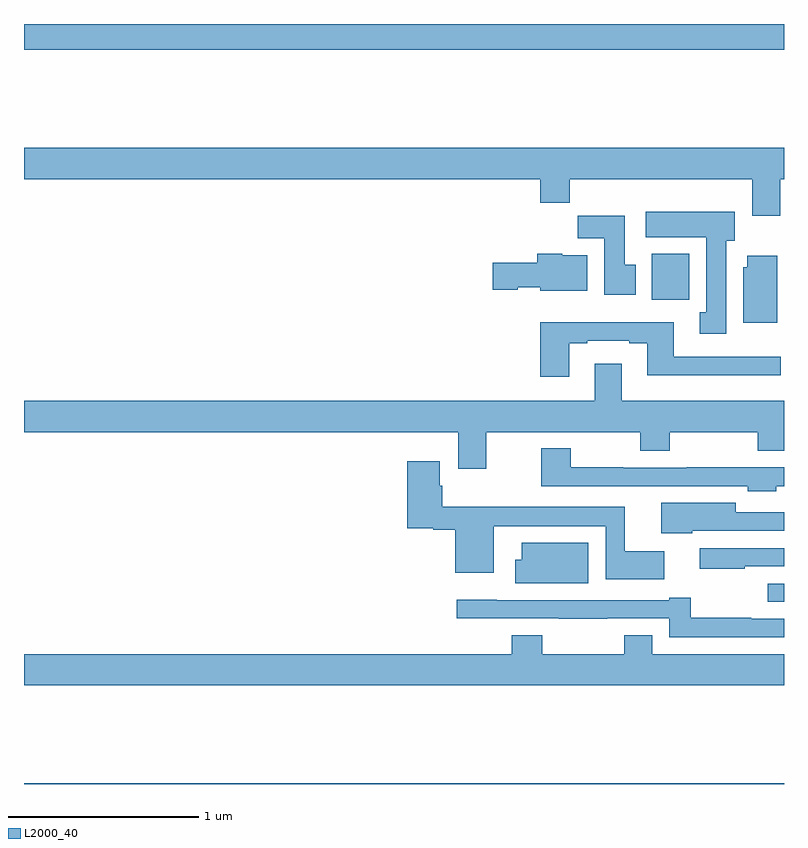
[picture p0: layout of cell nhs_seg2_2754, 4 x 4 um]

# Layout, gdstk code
import gdstk
lib = gdstk.Library(unit=1e-6, precision=1e-09)
def R(c, l, rs):  # rectangles x0, y0, x1, y1
    for r in rs: c.add(gdstk.rectangle(r[:2], r[2:], *l))
def P(c, l, *ps):  # polygons
    for p in ps: c.add(gdstk.Polygon(p, *l))
L2000_40 = (2000, 40)

nhs_seg2_2754 = lib.new_cell('nhs_seg2_2754')
R(nhs_seg2_2754, L2000_40, [(255,629.8,259,629.804), (258.915,630.759,259,630.855), (258.305,632.348,258.502,632.59), (255,633.664,259,633.8)])
P(nhs_seg2_2754, L2000_40, [(258.981,632.984),(259,632.984),(259,633.148),(255,633.148),(255,632.984),(257.717,632.984),(257.717,632.86),(257.873,632.86),(257.873,632.984),(258.833,632.984),(258.833,632.79),(258.981,632.79)],
  [(258.697,632.658),(258.742,632.658),(258.742,632.812),(258.273,632.812),(258.273,632.678),(258.59,632.678),(258.59,632.282),(258.557,632.282),(258.557,632.169),(258.697,632.169)],
  [(258.22,632.532),(258.163,632.532),(258.163,632.791),(257.914,632.791),(257.914,632.672),(258.053,632.672),(258.053,632.376),(258.22,632.376)],
  [(257.965,632.584),(257.832,632.584),(257.832,632.59),(257.702,632.59),(257.702,632.544),(257.466,632.544),(257.466,632.402),(257.598,632.402),(257.598,632.414),(257.718,632.414),(257.718,632.396),(257.965,632.396)],
  [(258.964,632.581),(258.806,632.581),(258.806,632.52),(258.785,632.52),(258.785,632.228),(258.964,632.228)],
  [(257.869,632.121),(257.965,632.121),(257.965,632.133),(258.185,632.133),(258.185,632.121),(258.281,632.121),(258.281,631.952),(258.982,631.952),(258.982,632.049),(258.421,632.049),(258.421,632.23),(257.717,632.23),(257.717,631.944),(257.869,631.944)],
  [(258.145,632.011),(258.005,632.011),(258.005,631.816),(255,631.816),(255,631.652),(257.285,631.652),(257.285,631.458),(257.433,631.458),(257.433,631.652),(258.244,631.652),(258.244,631.553),(258.399,631.553),(258.399,631.652),(258.862,631.652),(258.862,631.553),(259,631.553),(259,631.816),(258.145,631.816)],
  [(258.96,631.367),(259,631.367),(259,631.466),(258.487,631.466),(258.487,631.464),(258.155,631.464),(258.155,631.466),(257.877,631.466),(257.877,631.567),(257.722,631.567),(257.722,631.368),(258.81,631.368),(258.81,631.34),(258.96,631.34)],
  [(258.37,631.024),(258.161,631.024),(258.161,631.258),(257.201,631.258),(257.201,631.37),(257.188,631.37),(257.188,631.498),(257.017,631.498),(257.017,631.145),(257.154,631.145),(257.154,631.138),(257.27,631.138),(257.27,630.911),(257.473,630.911),(257.473,631.157),(258.063,631.157),(258.063,630.878),(258.37,630.878)],
  [(258.516,631.134),(259,631.134),(259,631.23),(258.745,631.23),(258.745,631.279),(258.354,631.279),(258.354,631.119),(258.516,631.119)],
  [(257.971,631.069),(257.621,631.069),(257.621,630.979),(257.585,630.979),(257.585,630.857),(257.971,630.857)],
  [(258.793,630.945),(259,630.945),(259,631.041),(258.557,631.041),(258.557,630.932),(258.793,630.932)],
  [(259,630.669),(258.827,630.669),(258.827,630.674),(258.509,630.674),(258.509,630.781),(258.395,630.781),(258.395,630.768),(257.489,630.768),(257.489,630.769),(257.277,630.769),(257.277,630.672),(257.815,630.672),(257.815,630.671),(258.071,630.671),(258.071,630.672),(258.395,630.672),(258.395,630.573),(259,630.573)],
  [(259,630.484),(258.307,630.484),(258.307,630.583),(258.16,630.583),(258.16,630.484),(257.727,630.484),(257.727,630.583),(257.567,630.583),(257.567,630.484),(255,630.484),(255,630.32),(259,630.32)])

lib.write_gds('nhs_seg2_2754.gds')
